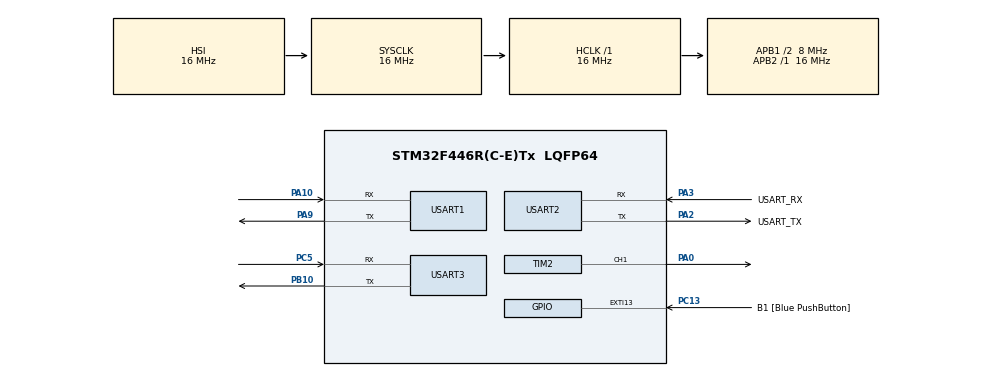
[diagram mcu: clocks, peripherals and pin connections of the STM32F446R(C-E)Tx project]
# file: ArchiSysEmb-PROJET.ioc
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FREERTOS.Mutexes01=debugLock,Static,debugLockControlBlock
FREERTOS.Tasks01=COMM_MGR,0,128,startCommMgr,Default,NULL,Dynamic,NULL,NULL;BT1_MGR,0,128,startBT1Mgr,Default,NULL,Dynamic,NULL,NULL;INPUT_MGR,0,128,startInputMgr,Default,NULL,Dynamic,NULL,NULL
FREERTOS.configTOTAL_HEAP_SIZE=15360
FREERTOS.configUSE_NEWLIB_REENTRANT=1
Mcu.Family=STM32F4
Mcu.Name=STM32F446R(C-E)Tx
Mcu.Package=LQFP64
NVIC.PriorityGroup=NVIC_PRIORITYGROUP_4
NVIC.TIM1_UP_TIM10_IRQn=true\:15\:0\:false\:false\:true\:false\:false\:true\:true
NVIC.TimeBase=TIM1_UP_TIM10_IRQn
NVIC.TimeBaseIP=TIM1
PA0-WKUP.Signal=S_TIM2_CH1_ETR
PA10.Mode=Asynchronous
PA10.Signal=USART1_RX
PA13.GPIO_Label=TMS
PA13.Mode=Serial_Wire
PA13.Signal=SYS_JTMS-SWDIO
PA14.GPIO_Label=TCK
PA14.Mode=Serial_Wire
PA14.Signal=SYS_JTCK-SWCLK
PA2.GPIO_Label=USART_TX
PA2.Mode=Asynchronous
PA2.Signal=USART2_TX
PA3.GPIO_Label=USART_RX
PA3.Mode=Asynchronous
PA3.Signal=USART2_RX
PA9.Mode=Asynchronous
PA9.Signal=USART1_TX
PB10.Mode=Asynchronous
PB10.Signal=USART3_TX
PB3.GPIO_Label=SWO
PB3.Signal=SYS_JTDO-SWO
PC13.GPIO_Label=B1 [Blue PushButton]
PC13.GPIO_ModeDefaultEXTI=GPIO_MODE_IT_FALLING
PC13.Signal=GPXTI13
PC14-OSC32_IN.Mode=LSE-External-Oscillator
PC14-OSC32_IN.Signal=RCC_OSC32_IN
PC15-OSC32_OUT.Mode=LSE-External-Oscillator
PC15-OSC32_OUT.Signal=RCC_OSC32_OUT
PC5.Mode=Asynchronous
PC5.Signal=USART3_RX
PH0-OSC_IN.Mode=HSE-External-Oscillator
PH0-OSC_IN.Signal=RCC_OSC_IN
PH1-OSC_OUT.Mode=HSE-External-Oscillator
PH1-OSC_OUT.Signal=RCC_OSC_OUT
ProjectManager.HeapSize=0x200
ProjectManager.StackSize=0x400
ProjectManager.TargetToolchain=STM32CubeIDE
RCC.48MHZClocksFreq_Value=84000000
RCC.AHBFreq_Value=16000000
RCC.APB1CLKDivider=RCC_HCLK_DIV2
RCC.APB1Freq_Value=8000000
RCC.APB1TimFreq_Value=16000000
RCC.APB2Freq_Value=16000000
RCC.APB2TimFreq_Value=16000000
RCC.CortexFreq_Value=16000000
RCC.FLatency-AdvancedSettings=FLASH_LATENCY_0
RCC.HCLKFreq_Value=16000000
RCC.HSE_VALUE=8000000
RCC.HSI_VALUE=16000000
RCC.PLLN=336
RCC.PLLP=RCC_PLLP_DIV4
RCC.SYSCLKFreq_VALUE=16000000
RCC.USBFreq_Value=168000000
RCC.VCOOutputFreq_Value=336000000
SH.S_TIM2_CH1_ETR.0=TIM2_CH1,PWM Generation1 CH1
TIM2.Channel-PWM\ Generation1\ CH1=TIM_CHANNEL_1
TIM2.Period=799
TIM2.Prescaler=9999
USART1.VirtualMode=VM_ASYNC
USART2.VirtualMode=VM_ASYNC
USART3.VirtualMode=VM_ASYNC
VP_FREERTOS_VS_CMSIS_V1.Mode=CMSIS_V1
VP_SYS_VS_tim1.Mode=TIM1
VP_TIM2_VS_ClockSourceINT.Mode=Internal
board=NUCLEO-F446RE

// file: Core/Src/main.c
/* USER CODE BEGIN Header */
/**
 ******************************************************************************
 * @file           : main.c
 * @brief          : Main program body
 ******************************************************************************
 * @attention
 *
 * Copyright (c) 2022 STMicroelectronics.
 * All rights reserved.
 *
 * This software is licensed under terms that can be found in the LICENSE file
 * in the root directory of this software component.
 * If no LICENSE file comes with this software, it is provided AS-IS.
 *
 ******************************************************************************
 */
/* USER CODE END Header */
#include "main.h"
#include "cmsis_os.h"

TIM_HandleTypeDef htim2;

UART_HandleTypeDef huart1;
UART_HandleTypeDef huart2;
UART_HandleTypeDef huart3;

osThreadId COMM_MGRHandle;
osThreadId BT1_MGRHandle;
osThreadId INPUT_MGRHandle;
osMutexId debugLockHandle;
osStaticMutexDef_t debugLockControlBlock;
/* USER CODE BEGIN PV */
role_t role = ROLE_NONE;
cipher_key_t readKey;
cipher_key_t writeKey;
/* USER CODE END PV */

void SystemClock_Config(void);
static void MX_GPIO_Init(void);
static void MX_USART2_UART_Init(void);
static void MX_USART1_UART_Init(void);
static void MX_USART3_UART_Init(void);
static void MX_TIM2_Init(void);
void startCommMgr(void const *argument);
void startBT1Mgr(void const *argument);
void startInputMgr(void const *argument);

/* USER CODE BEGIN PFP */
void cipher(uint8_t*, size_t, cipher_key_t);
void decipher(uint8_t*, size_t, cipher_key_t);
cipher_key_t generateKey();
void readHeader(frame_t*, msg_type_t*, msg_size_t*);
void writeHeader(frame_t*, msg_type_t, msg_size_t);
bool readUART(UART_HandleTypeDef*, frame_t*, msg_size_t);
bool writeUART(UART_HandleTypeDef*, const frame_t*, msg_size_t);
/* USER CODE END PFP */

int main(void) {

	/* MCU Configuration--------------------------------------------------------*/

	/* Reset of all peripherals, Initializes the Flash interface and the Systick. */
	HAL_Init();

	/* Configure the system clock */
	SystemClock_Config();

	/* Initialize all configured peripherals */
	MX_GPIO_Init();
	MX_USART2_UART_Init();
	MX_USART1_UART_Init();
	MX_USART3_UART_Init();
	MX_TIM2_Init();

	/* Create the mutex(es) */
	/* definition and creation of debugLock */
	osMutexStaticDef(debugLock, &debugLockControlBlock);
	debugLockHandle = osMutexCreate(osMutex(debugLock));

	/* Create the thread(s) */
	/* definition and creation of COMM_MGR */
	osThreadDef(COMM_MGR, startCommMgr, osPriorityNormal, 0, 128);
	COMM_MGRHandle = osThreadCreate(osThread(COMM_MGR), NULL);

	/* definition and creation of BT1_MGR */
	osThreadDef(BT1_MGR, startBT1Mgr, osPriorityNormal, 0, 128);
	BT1_MGRHandle = osThreadCreate(osThread(BT1_MGR), NULL);

	/* definition and creation of INPUT_MGR */
	osThreadDef(INPUT_MGR, startInputMgr, osPriorityNormal, 0, 128);
	INPUT_MGRHandle = osThreadCreate(osThread(INPUT_MGR), NULL);

	/* USER CODE BEGIN RTOS_THREADS */
	/* add threads, ... */
	HAL_UART_Transmit(&huart2, (uint8_t*) "\n\r*** Program Started ***\n\r", 27,
			5);
	/* USER CODE END RTOS_THREADS */

	/* Start scheduler */
	osKernelStart();

	/* We should never get here as control is now taken by the scheduler */
	/* Infinite loop */
	while (1) {

	}
}

void SystemClock_Config(void) {
	RCC_OscInitTypeDef RCC_OscInitStruct = { 0 };
	RCC_ClkInitTypeDef RCC_ClkInitStruct = { 0 };

	/** Configure the main internal regulator output voltage
	 */
	__HAL_RCC_PWR_CLK_ENABLE();
	__HAL_PWR_VOLTAGESCALING_CONFIG(PWR_REGULATOR_VOLTAGE_SCALE3);

	/** Initializes the RCC Oscillators according to the specified parameters
	 * in the RCC_OscInitTypeDef structure.
	 */
	RCC_OscInitStruct.OscillatorType = RCC_OSCILLATORTYPE_HSI;
	RCC_OscInitStruct.HSIState = RCC_HSI_ON;
	RCC_OscInitStruct.HSICalibrationValue = RCC_HSICALIBRATION_DEFAULT;
	RCC_OscInitStruct.PLL.PLLState = RCC_PLL_NONE;
	if (HAL_RCC_OscConfig(&RCC_OscInitStruct) != HAL_OK) {
		Error_Handler();
	}

	/** Initializes the CPU, AHB and APB buses clocks
	 */
	RCC_ClkInitStruct.ClockType = RCC_CLOCKTYPE_HCLK | RCC_CLOCKTYPE_SYSCLK
			| RCC_CLOCKTYPE_PCLK1 | RCC_CLOCKTYPE_PCLK2;
	RCC_ClkInitStruct.SYSCLKSource = RCC_SYSCLKSOURCE_HSI;
	RCC_ClkInitStruct.AHBCLKDivider = RCC_SYSCLK_DIV1;
	RCC_ClkInitStruct.APB1CLKDivider = RCC_HCLK_DIV2;
	RCC_ClkInitStruct.APB2CLKDivider = RCC_HCLK_DIV1;

	if (HAL_RCC_ClockConfig(&RCC_ClkInitStruct, FLASH_LATENCY_0) != HAL_OK) {
		Error_Handler();
	}
}

static void MX_TIM2_Init(void) {

	TIM_ClockConfigTypeDef sClockSourceConfig = { 0 };
	TIM_MasterConfigTypeDef sMasterConfig = { 0 };
	TIM_OC_InitTypeDef sConfigOC = { 0 };

	htim2.Instance = TIM2;
	htim2.Init.Prescaler = 9999;
	htim2.Init.CounterMode = TIM_COUNTERMODE_UP;
	htim2.Init.Period = 799;
	htim2.Init.ClockDivision = TIM_CLOCKDIVISION_DIV1;
	htim2.Init.AutoReloadPreload = TIM_AUTORELOAD_PRELOAD_DISABLE;
	if (HAL_TIM_Base_Init(&htim2) != HAL_OK) {
		Error_Handler();
	}
	sClockSourceConfig.ClockSource = TIM_CLOCKSOURCE_INTERNAL;
	if (HAL_TIM_ConfigClockSource(&htim2, &sClockSourceConfig) != HAL_OK) {
		Error_Handler();
	}
	if (HAL_TIM_PWM_Init(&htim2) != HAL_OK) {
		Error_Handler();
	}
	sMasterConfig.MasterOutputTrigger = TIM_TRGO_RESET;
	sMasterConfig.MasterSlaveMode = TIM_MASTERSLAVEMODE_DISABLE;
	if (HAL_TIMEx_MasterConfigSynchronization(&htim2, &sMasterConfig)
			!= HAL_OK) {
		Error_Handler();
	}
	sConfigOC.OCMode = TIM_OCMODE_PWM1;
	sConfigOC.Pulse = 0;
	sConfigOC.OCPolarity = TIM_OCPOLARITY_HIGH;
	sConfigOC.OCFastMode = TIM_OCFAST_DISABLE;
	if (HAL_TIM_PWM_ConfigChannel(&htim2, &sConfigOC, TIM_CHANNEL_1)
			!= HAL_OK) {
		Error_Handler();
	}
	HAL_TIM_MspPostInit(&htim2);

}

static void MX_USART1_UART_Init(void) {

	huart1.Instance = USART1;
	huart1.Init.BaudRate = 115200;
	huart1.Init.WordLength = UART_WORDLENGTH_8B;
	huart1.Init.StopBits = UART_STOPBITS_1;
	huart1.Init.Parity = UART_PARITY_NONE;
	huart1.Init.Mode = UART_MODE_TX_RX;
	huart1.Init.HwFlowCtl = UART_HWCONTROL_NONE;
	huart1.Init.OverSampling = UART_OVERSAMPLING_16;
	if (HAL_UART_Init(&huart1) != HAL_OK) {
		Error_Handler();
	}

}

static void MX_USART2_UART_Init(void) {

	huart2.Instance = USART2;
	huart2.Init.BaudRate = 115200;
	huart2.Init.WordLength = UART_WORDLENGTH_8B;
	huart2.Init.StopBits = UART_STOPBITS_1;
	huart2.Init.Parity = UART_PARITY_NONE;
	huart2.Init.Mode = UART_MODE_TX_RX;
	huart2.Init.HwFlowCtl = UART_HWCONTROL_NONE;
	huart2.Init.OverSampling = UART_OVERSAMPLING_16;
	if (HAL_UART_Init(&huart2) != HAL_OK) {
		Error_Handler();
	}

}

static void MX_USART3_UART_Init(void) {

	huart3.Instance = USART3;
	huart3.Init.BaudRate = 115200;
	huart3.Init.WordLength = UART_WORDLENGTH_8B;
	huart3.Init.StopBits = UART_STOPBITS_1;
	huart3.Init.Parity = UART_PARITY_NONE;
	huart3.Init.Mode = UART_MODE_TX_RX;
	huart3.Init.HwFlowCtl = UART_HWCONTROL_NONE;
	huart3.Init.OverSampling = UART_OVERSAMPLING_16;
	if (HAL_UART_Init(&huart3) != HAL_OK) {
		Error_Handler();
	}

}

static void MX_GPIO_Init(void) {
	GPIO_InitTypeDef GPIO_InitStruct = { 0 };

	/* GPIO Ports Clock Enable */
	__HAL_RCC_GPIOC_CLK_ENABLE();
	__HAL_RCC_GPIOH_CLK_ENABLE();
	__HAL_RCC_GPIOA_CLK_ENABLE();
	__HAL_RCC_GPIOB_CLK_ENABLE();

	/*Configure GPIO pin : B1_Pin */
	GPIO_InitStruct.Pin = B1_Pin;
	GPIO_InitStruct.Mode = GPIO_MODE_IT_FALLING;
	GPIO_InitStruct.Pull = GPIO_NOPULL;
	HAL_GPIO_Init(B1_GPIO_Port, &GPIO_InitStruct);

}

/* USER CODE BEGIN 4 */
void cipher(uint8_t *message, size_t messageSize, cipher_key_t key) {
	return;
}
void decipher(uint8_t *message, size_t messageSize, cipher_key_t key) {

}
cipher_key_t generateKey() {
	return 0; // TODO
}
void readHeader(frame_t *header, msg_type_t *msgType, msg_size_t *msgSize) {
	uint16_t header_unified;
	sscanf((char*) header, "%" SCNu16, &header_unified);

	*msgType = (msg_type_t) (header_unified & HEADER_TYPE_MASK);
	*msgSize = (msg_size_t) (header_unified & HEADER_TYPE_MASK);
}
void writeHeader(frame_t *header, msg_type_t msgType, msg_size_t msgSize) {
	uint16_t header_unified = (msgType << 13) + msgSize;

	sprintf((char*) header, "%" PRIu16, header_unified);
}
bool readUART(UART_HandleTypeDef *huart, frame_t *data, msg_size_t size) {

	HAL_StatusTypeDef status = HAL_UART_Receive(huart, data, size, TIMEOUT);
	bool retVal = (status == HAL_OK);

	char *label = "-----";
	if (huart == &huart1) {
		label = "UART1";
	}
	if (huart == &huart2) {
		label = "UART2";
	}
	if (huart == &huart3) {
		label = "UART3";
	}

	char *result = "--";
	if (status == HAL_OK) {
		result = "OK";
	}
	if (status == HAL_TIMEOUT) {
		result = "TO";
	}
	if (status == HAL_BUSY) {
		result = "BS";
	}
	if (status == HAL_ERROR) {
		result = "ER";
	}

	char debugMsg[15];
	sprintf(debugMsg, "[%s] R(%s): ", label, result);

	(void) osMutexWait(debugLockHandle, 0);
	HAL_UART_Transmit(&huart2, (uint8_t*) debugMsg, sizeof(debugMsg), TIMEOUT);
	HAL_UART_Transmit(&huart2, (uint8_t*) data, size, TIMEOUT);
	HAL_UART_Transmit(&huart2, (uint8_t*) "\n\r", 2, TIMEOUT);
	(void) osMutexRelease(debugLockHandle);

	return retVal;
}
bool writeUART(UART_HandleTypeDef *huart, const frame_t *data, msg_size_t size) {

	HAL_StatusTypeDef status = HAL_UART_Transmit(huart, data, size, TIMEOUT);
	bool retVal = (status == HAL_OK);

	char *label = "-----";
	if (huart == &huart1) {
		label = "UART1";
	}
	if (huart == &huart2) {
		label = "UART2";
	}
	if (huart == &huart3) {
		label = "UART3";
	}

	char *result = "--";
	if (status == HAL_OK) {
		result = "OK";
	}
	if (status == HAL_TIMEOUT) {
		result = "TO";
	}
	if (status == HAL_BUSY) {
		result = "BS";
	}
	if (status == HAL_ERROR) {
		result = "ER";
	}

	char debugMsg[15];
	sprintf(debugMsg, "[%s] W(%s): ", label, result);

	(void) osMutexWait(debugLockHandle, 0);
	HAL_UART_Transmit(&huart2, (uint8_t*) debugMsg, sizeof(debugMsg), TIMEOUT);
	HAL_UART_Transmit(&huart2, (uint8_t*) data, size, TIMEOUT);
	HAL_UART_Transmit(&huart2, (uint8_t*) "\n\r", 2, TIMEOUT);
	(void) osMutexRelease(debugLockHandle);

	return retVal;
}
/* USER CODE END 4 */

void startCommMgr(void const *argument) {
	/* USER CODE BEGIN 5 */
	frame_t header[FRAME_HEADER_SIZE];
	frame_t ioBuffer[MAX_FRAME_SIZE];
	msg_type_t msgType;
	msg_size_t msgSize;

	memset(header, 0, FRAME_HEADER_SIZE);
	memset(ioBuffer, 0, MAX_FRAME_SIZE);
	/* Infinite loop */
	commMgr_i: while (role != ROLE_INPUT) // If ROLE_INPUT, terminate the thread
	{

		if (!readUART(&huart1, header, FRAME_HEADER_SIZE)) {
			continue;
		}

		readHeader(header, &msgType, &msgSize);

		if (msgType == MSG_TYPE_CLEF) {
			role = ROLE_TRANSIT;

			if (!readUART(&huart1, ioBuffer, msgSize)) {
				continue;
			}

			readKey = ioBuffer[0];
			cipher(ioBuffer, msgSize, readKey);
			writeHeader(header, MSG_TYPE_OKCLEF, 1);

			if (!writeUART(&huart1, header, FRAME_HEADER_SIZE)) {
				continue;
			}

			if (!writeUART(&huart1, ioBuffer, 1)) {
				continue;
			}

			writeKey = generateKey();
			writeHeader(header, MSG_TYPE_CLEF, 1);
			sprintf((char*) ioBuffer, "%" PRIu8, writeKey);

			if (!writeUART(&huart3, header, FRAME_HEADER_SIZE)) {
				continue;
			}

			if (!writeUART(&huart3, ioBuffer, 1)) {
				continue;
			}

			if (!readUART(&huart3, header, FRAME_HEADER_SIZE)) {
				role = ROLE_OUTPUT;
				continue;
			}

			readHeader(header, &msgType, &msgSize);

			if (msgType != MSG_TYPE_OKCLEF) {
				//HAL_TIM_PWM_Start(&htim2, TIM_CHANNEL_1); // signal error
				continue;
			}

			(void) readUART(&huart3, ioBuffer, msgSize);

		} else if (msgType == MSG_TYPE_MSG) {

			if (!readUART(&huart1, ioBuffer, msgSize)) {
				continue;
			}

			writeHeader(header, MSG_TYPE_OKMSG, 0);

			if (!writeUART(&huart1, header, FRAME_HEADER_SIZE)) {
				continue;
			}

			decipher(ioBuffer, msgSize, readKey);

			if (role == ROLE_OUTPUT) {
				(void) writeUART(&huart2, ioBuffer, msgSize);
				continue;
			}

			cipher(ioBuffer, msgSize, writeKey);
			writeHeader(header, MSG_TYPE_MSG, msgSize);

			for (uint8_t fails = 0; fails < 3; fails++) {
				if (!writeUART(&huart3, header, FRAME_HEADER_SIZE)) {
					continue;
				}

				if (!writeUART(&huart3, ioBuffer, msgSize)) {
					continue;
				}

				if (!readUART(&huart3, header, FRAME_HEADER_SIZE)) {
					continue;
				}

				readHeader(header, &msgType, &msgSize);
				(void) readUART(&huart3, ioBuffer, msgSize);

				if (msgType == MSG_TYPE_OKMSG) {
					goto commMgr_i;
					// Done, proceed to next iteration
				}
			}

			Error_Handler();
		}

		osDelay(1);
	}
	/* USER CODE END 5 */
}

void startBT1Mgr(void const *argument) {
	/* USER CODE BEGIN startBT1Mgr */
	bool buttonPressed = false;
	frame_t header[FRAME_HEADER_SIZE];
	frame_t msgBuffer[MAX_FRAME_SIZE];
	msg_type_t msgType;
	msg_size_t msgSize;
	/* Infinite loop */
	bt1Mgr_i: while (role == ROLE_NONE) {
		if (HAL_GPIO_ReadPin(B1_GPIO_Port, B1_Pin) == GPIO_PIN_RESET) {
			if (buttonPressed == false) {
				buttonPressed = true;
				writeKey = generateKey();

				for (uint8_t fails = 0; fails < 3; fails++) {

					// envoi entête et clé sur UART3
					writeHeader(header, MSG_TYPE_CLEF, 1);

					if (!writeUART(&huart3, header, FRAME_HEADER_SIZE)) {
						continue;
					}

					sprintf((char*) msgBuffer, "%"PRIu8, writeKey);

					if (!writeUART(&huart3, msgBuffer, 1)) {
						continue;
					}

					// lecture réponse UART3
					if (!readUART(&huart3, header, FRAME_HEADER)) {
						continue;
					}

					readHeader(header, &msgType, &msgSize);

					if (msgType == MSG_TYPE_OKCLEF) {
						role = ROLE_INPUT;
						goto bt1Mgr_i;
					}
				}

				Error_Handler();
			}
		} else {
			buttonPressed = false;
		}
	}
	/* USER CODE END startBT1Mgr */
}

void startInputMgr(void const *argument) {
	/* USER CODE BEGIN startInputMgr */
	/* Infinite loop */
	for (;;) {
		osDelay(1000);
	}
	/* USER CODE END startInputMgr */
}

void HAL_TIM_PeriodElapsedCallback(TIM_HandleTypeDef *htim) {
	if (htim->Instance == TIM1) {
		HAL_IncTick();
	}
}

void Error_Handler(void) {
	/* USER CODE BEGIN Error_Handler_Debug */
	/* User can add his own implementation to report the HAL error return state */
	__disable_irq();
//HAL_TIM_PWM_Start(&htim2, TIM_CHANNEL_1);
	while (1) {
		osDelay(1);
	}
	/* USER CODE END Error_Handler_Debug */
}
